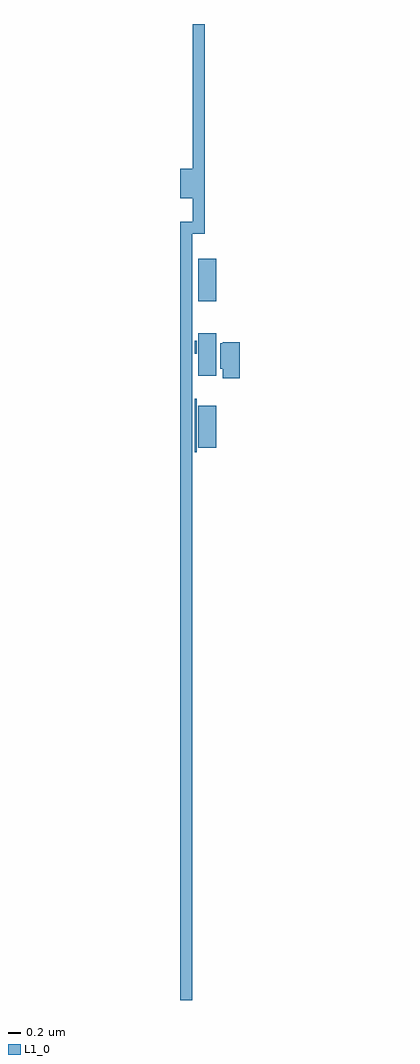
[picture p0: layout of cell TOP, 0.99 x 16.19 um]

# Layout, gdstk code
import gdstk
lib = gdstk.Library(unit=1e-6, precision=1e-09)
def R(c, l, rs):  # rectangles x0, y0, x1, y1
    for r in rs: c.add(gdstk.rectangle(r[:2], r[2:], *l))
L1_0 = (1, 0)

top = lib.new_cell('TOP')
R(top, L1_0, [(0.04,0.988,0.07,1.882), (0.1,1.065,0.4,1.765), (0.508,2.22,0.788,2.818), (0.1,2.261,0.4,2.961), (0.459,2.373,0.508,2.797), (0.04,2.621,0.07,2.841), (0.1,3.5,0.4,4.2), (-0.202,5.206,-0.002,5.696)])
top.add(gdstk.FlexPath([(0.103,4.615),(0.103,8.095)], 0.2, ends="flush", simple_path=True, layer=1, datatype=0))  # L1_0
top.add(gdstk.FlexPath([(-0.202,4.715),(0.203,4.715)], 0.2, ends="flush", simple_path=True, layer=1, datatype=0))  # L1_0
top.add(gdstk.FlexPath([(-0.102,-8.095),(-0.102,4.815)], 0.2, ends="flush", simple_path=True, layer=1, datatype=0))  # L1_0

lib.write_gds('TOP.gds')
